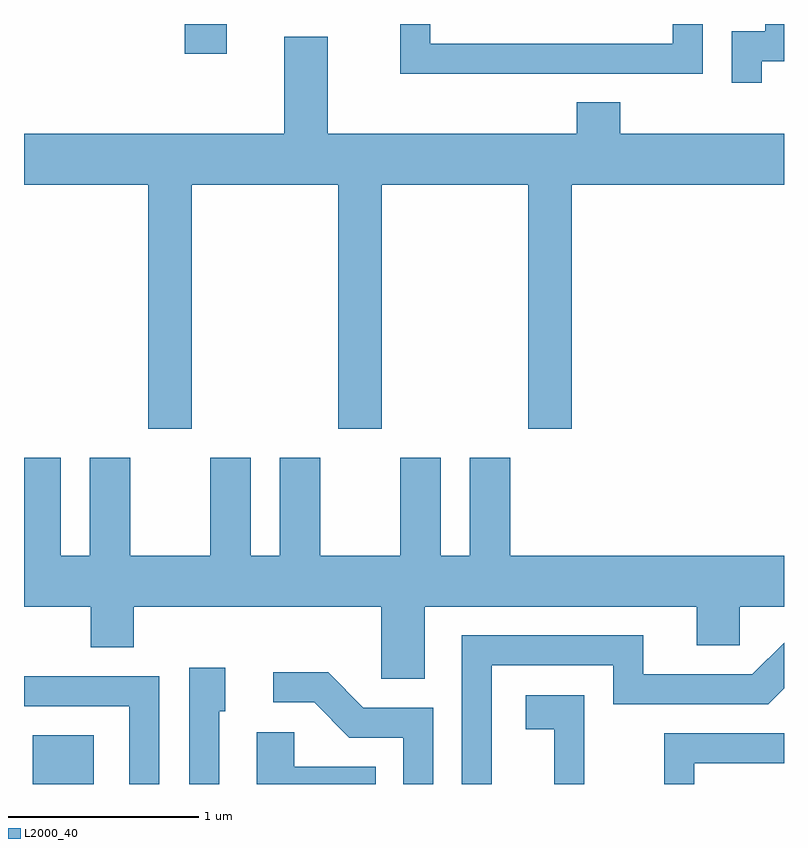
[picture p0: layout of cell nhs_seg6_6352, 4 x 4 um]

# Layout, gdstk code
import gdstk
lib = gdstk.Library(unit=1e-6, precision=1e-09)
def R(c, l, rs):  # rectangles x0, y0, x1, y1
    for r in rs: c.add(gdstk.rectangle(r[:2], r[2:], *l))
def P(c, l, *ps):  # polygons
    for p in ps: c.add(gdstk.Polygon(p, *l))
L2000_40 = (2000, 40)

nhs_seg6_6352 = lib.new_cell('nhs_seg6_6352')
R(nhs_seg6_6352, L2000_40, [(377.656,1600.162,377.979,1600.419), (378.456,1604.006,378.679,1604.162)])
P(nhs_seg6_6352, L2000_40, [(381.494,1603.966),(381.611,1603.966),(381.611,1604.162),(381.511,1604.162),(381.511,1604.124),(381.336,1604.124),(381.336,1603.853),(381.494,1603.853)],
  [(381.184,1604.162),(381.026,1604.162),(381.026,1604.059),(379.749,1604.059),(379.749,1604.162),(379.591,1604.162),(379.591,1603.901),(381.184,1603.901)],
  [(378.494,1603.316),(379.266,1603.316),(379.266,1602.031),(379.494,1602.031),(379.494,1603.316),(380.266,1603.316),(380.266,1602.031),(380.494,1602.031),(380.494,1603.316),(381.611,1603.316),(381.611,1603.584),(380.749,1603.584),(380.749,1603.749),(380.521,1603.749),(380.521,1603.584),(379.209,1603.584),(379.209,1604.094),(378.981,1604.094),(378.981,1603.584),(377.611,1603.584),(377.611,1603.316),(378.266,1603.316),(378.266,1602.031),(378.494,1602.031)],
  [(380.169,1601.879),(379.956,1601.879),(379.956,1601.364),(379.804,1601.364),(379.804,1601.879),(379.591,1601.879),(379.591,1601.364),(379.169,1601.364),(379.169,1601.879),(378.956,1601.879),(378.956,1601.364),(378.804,1601.364),(378.804,1601.879),(378.591,1601.879),(378.591,1601.364),(378.169,1601.364),(378.169,1601.879),(377.956,1601.879),(377.956,1601.364),(377.804,1601.364),(377.804,1601.879),(377.611,1601.879),(377.611,1601.096),(377.961,1601.096),(377.961,1600.881),(378.189,1600.881),(378.189,1601.096),(379.491,1601.096),(379.491,1600.716),(379.719,1600.716),(379.719,1601.096),(381.151,1601.096),(381.151,1600.891),(381.379,1600.891),(381.379,1601.096),(381.611,1601.096),(381.611,1601.364),(380.169,1601.364)],
  [(380.074,1600.786),(380.711,1600.786),(380.711,1600.581),(381.527,1600.581),(381.611,1600.665),(381.611,1600.906),(381.444,1600.739),(380.869,1600.739),(380.869,1600.944),(379.916,1600.944),(379.916,1600.162),(380.074,1600.162)],
  [(378.639,1600.546),(378.669,1600.546),(378.669,1600.774),(378.481,1600.774),(378.481,1600.162),(378.639,1600.162)],
  [(379.764,1600.564),(379.397,1600.564),(379.212,1600.749),(378.923,1600.749),(378.923,1600.591),(379.139,1600.591),(379.324,1600.406),(379.606,1600.406),(379.606,1600.162),(379.764,1600.162)],
  [(378.324,1600.729),(377.611,1600.729),(377.611,1600.571),(378.166,1600.571),(378.166,1600.162),(378.324,1600.162)],
  [(380.559,1600.629),(380.251,1600.629),(380.251,1600.451),(380.401,1600.451),(380.401,1600.162),(380.559,1600.162)],
  [(379.463,1600.254),(379.034,1600.254),(379.034,1600.434),(378.836,1600.434),(378.836,1600.162),(379.463,1600.162)],
  [(381.139,1600.271),(381.611,1600.271),(381.611,1600.429),(380.981,1600.429),(380.981,1600.162),(381.139,1600.162)])

lib.write_gds('nhs_seg6_6352.gds')
